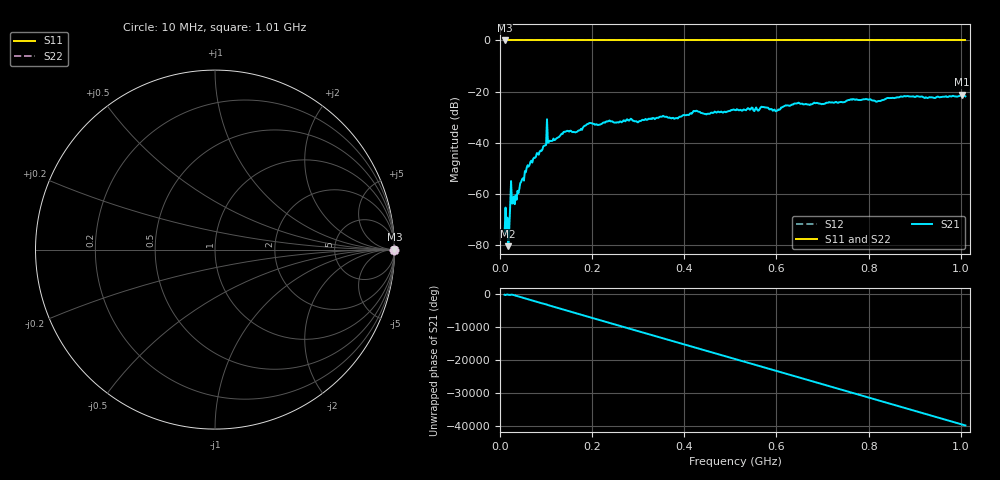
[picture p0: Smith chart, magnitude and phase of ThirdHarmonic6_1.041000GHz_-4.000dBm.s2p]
! 8/16/2025 9:02:22 AM
! C:\ANRITSUVNA\TEMP\TEMP.S2P
! CHANNEL.1
! TR.MEASUREMENT
! RAW.DATA
! RF.CORRECTION.OFF
! AVERAGING.OFF
! IF.BANDWIDTH: 5KHZ
! SWEEPTYPE:  FREQ.SWEEP(Linear)
! Reference Plane Port Info
! PORT:  PORT1  PORT2
! DISTANCE:  0  m  0  m
! TIME:  0  s  0  s
! PHASE.OFFSET:  0  deg.  0  deg.
! LOSS:  0  dB  0  dB
! REF.LOSS:  0  dB  0  dB
! REF.FREQ:  0  Hz  0  Hz
! Power Info
! POWER:  -20  dBm  -20  dBm
! EFF.POWER:  -20  dBm  -20  dBm
! SOURCE.ATTEN:  0  dB  0  dB
! TEST.ATTEN:  0  dB  0  dB
# GHZ S RI R 50.0
! FREQ.GHZ  S11RE  S11IM  S21RE  S21IM  S12RE  S12IM  S22RE  S22IM
!; PortSelection: Port_12
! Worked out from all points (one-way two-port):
!   501 points, 10 MHz to 1.01 GHz, reference 50 ohm
!   highest |S21| = -21.19 dB at 1.002 GHz (marker M1); lowest = -80.5 dB at 18 MHz (marker M2)
!   lowest |S11| = 0.0 dB at 10 MHz (marker M3)
!   |S11| at or under -10 dB: nowhere
!   |S22| runs from 0.0 to 0.0 dB; largest |S21 - S12| = 1.1
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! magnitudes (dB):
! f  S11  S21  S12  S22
! 10 MHz  0.0  -75.3  0.0  0.0
! 18 MHz  0.0  -80.5  0.0  0.0
! 20 MHz  0.0  -74.1  0.0  0.0
! 22 MHz  0.0  -65.3  0.0  0.0
! 26 MHz  0.0  -63.8  0.0  0.0
! 30 MHz  0.0  -61.0  0.0  0.0
! 36 MHz  0.0  -62.3  0.0  0.0
! 58 MHz  0.0  -49.8  0.0  0.0
! 96 MHz  0.0  -41.2  0.0  0.0
! 98 MHz  0.0  -41.1  0.0  0.0
! 178 MHz  0.0  -35.0  0.0  0.0
! 194 MHz  0.0  -32.3  0.0  0.0
! 344 MHz  0.0  -30.3  0.0  0.0
! 382 MHz  0.0  -30.4  0.0  0.0
! 510 MHz  0.0  -27.3  0.0  0.0
! 570 MHz  0.0  -26.1  0.0  0.0
! 602 MHz  0.0  -27.4  0.0  0.0
! 644 MHz  0.0  -24.6  0.0  0.0
! 678 MHz  0.0  -24.9  0.0  0.0
! 844 MHz  0.0  -22.5  0.0  0.0
! 1.002 GHz  0.0  -21.2  0.0  0.0
! 1.01 GHz  0.0  -21.9  0.0  0.0
